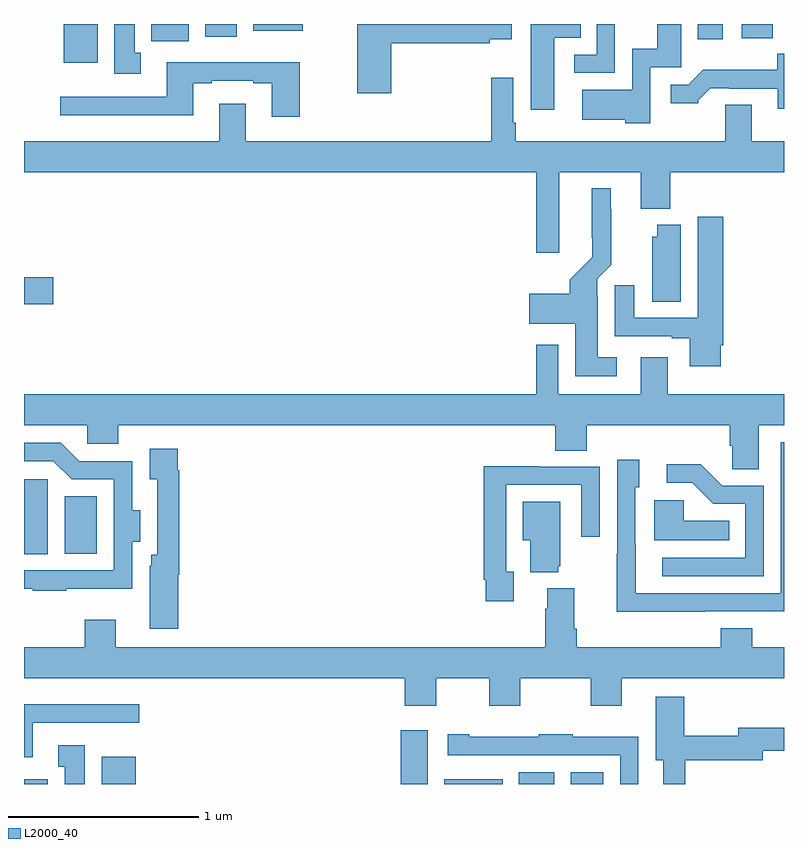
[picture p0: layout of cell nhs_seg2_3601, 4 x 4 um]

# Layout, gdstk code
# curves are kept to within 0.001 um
import gdstk
lib = gdstk.Library(unit=1e-6, precision=1e-09)
def R(c, l, rs):  # rectangles x0, y0, x1, y1
    for r in rs: c.add(gdstk.rectangle(r[:2], r[2:], *l))
def P(c, l, *ps):  # polygons
    for p in ps: c.add(gdstk.Polygon(p, *l))
L2000_40 = (2000, 40)

nhs_seg2_3601 = lib.new_cell('nhs_seg2_3601')
R(nhs_seg2_3601, L2000_40, [(301,593.8,301.126,593.824), (301.409,593.8,301.588,593.944), (302.984,593.8,303.124,594.082), (303.212,593.8,303.52,593.824), (303.605,593.8,303.79,593.863), (303.878,593.8,304.048,593.863), (301,595.009,301.126,595.405), (301.214,595.013,301.384,595.315), (301,596.326,301.153,596.468), (301.208,597.596,301.387,597.8), (301.671,597.708,301.867,597.8), (304.547,597.72,304.678,597.8), (304.778,597.725,304.94,597.8), (301.955,597.734,302.119,597.8), (302.207,597.764,302.466,597.8)])
P(nhs_seg2_3601, L2000_40, [(303.79,597.728),(303.929,597.728),(303.929,597.8),(303.668,597.8),(303.668,597.348),(303.79,597.348)],
  [(302.933,597.7),(303.452,597.7),(303.452,597.719),(303.568,597.719),(303.568,597.8),(302.755,597.8),(302.755,597.435),(302.933,597.435)],
  [(304.296,597.573),(304.459,597.573),(304.459,597.8),(304.334,597.8),(304.334,597.67),(304.2,597.67),(304.2,597.454),(303.939,597.454),(303.939,597.296),(304.164,597.296),(304.164,597.278),(304.296,597.278)],
  [(304.11,597.8),(304.014,597.8),(304.014,597.639),(303.897,597.639),(303.897,597.543),(304.11,597.543)],
  [(301.615,597.649),(301.582,597.649),(301.582,597.8),(301.475,597.8),(301.475,597.537),(301.615,597.537)],
  [(305,597.643),(304.965,597.643),(304.965,597.559),(304.576,597.559),(304.497,597.48),(304.404,597.48),(304.404,597.383),(304.548,597.383),(304.548,597.398),(304.612,597.462),(304.711,597.462),(304.711,597.459),(304.967,597.459),(304.967,597.354),(305,597.354)],
  [(302.451,597.598),(301.751,597.598),(301.751,597.417),(301.191,597.417),(301.191,597.32),(301.891,597.32),(301.891,597.489),(301.987,597.489),(301.987,597.501),(302.207,597.501),(302.207,597.489),(302.303,597.489),(302.303,597.312),(302.451,597.312)],
  [(303.817,597.02),(304.247,597.02),(304.247,596.828),(304.4,596.828),(304.4,597.02),(305,597.02),(305,597.184),(304.831,597.184),(304.831,597.374),(304.691,597.374),(304.691,597.184),(303.589,597.184),(303.589,597.28),(303.576,597.28),(303.576,597.517),(303.46,597.517),(303.46,597.184),(302.167,597.184),(302.167,597.379),(302.027,597.379),(302.027,597.184),(301,597.184),(301,597.02),(303.695,597.02),(303.695,596.595),(303.817,596.595)],
  [(304.12,596.047),(304.021,596.047),(304.021,596.366),(304.017,596.366),(304.017,596.46),(304.091,596.534),(304.091,596.825),(304.087,596.825),(304.087,596.935),(303.989,596.935),(303.99,596.572),(303.872,596.454),(303.872,596.38),(303.66,596.38),(303.66,596.222),(303.902,596.222),(303.902,595.946),(304.12,595.946)],
  [(304.666,596.11),(304.679,596.11),(304.679,596.785),(304.547,596.785),(304.547,596.253),(304.213,596.253),(304.213,596.425),(304.109,596.425),(304.109,596.157),(304.409,596.157),(304.409,596.145),(304.505,596.145),(304.505,595.998),(304.666,595.998)],
  [(304.456,596.743),(304.334,596.743),(304.334,596.679),(304.307,596.679),(304.307,596.338),(304.456,596.338)],
  [(304.867,595.688),(305,595.688),(305,595.852),(304.387,595.852),(304.387,596.047),(304.247,596.047),(304.247,595.852),(303.813,595.852),(303.813,596.113),(303.697,596.113),(303.697,595.852),(301,595.852),(301,595.688),(301.332,595.688),(301.332,595.59),(301.496,595.59),(301.496,595.688),(303.797,595.688),(303.797,595.555),(303.962,595.555),(303.962,595.688),(304.715,595.688),(304.715,595.579),(304.728,595.579),(304.728,595.456),(304.867,595.456)],
  [(304.583,594.708),(305,594.708),(305,595.599),(304.983,595.599),(304.983,594.804),(304.219,594.804),(304.219,595.058),(304.218,595.058),(304.218,595.362),(304.237,595.362),(304.237,595.507),(304.122,595.507),(304.122,595.013),(304.12,595.013),(304.12,594.707),(304.583,594.707)],
  [(301.223,594.827),(301.569,594.827),(301.569,595.076),(301.612,595.076),(301.612,595.24),(301.57,595.24),(301.57,595.5),(301.29,595.5),(301.194,595.596),(301,595.596),(301,595.5),(301.155,595.5),(301.251,595.404),(301.473,595.404),(301.473,594.924),(301,594.924),(301,594.827),(301.045,594.827),(301.045,594.816),(301.223,594.816)],
  [(301.811,594.902),(301.817,594.902),(301.817,595.451),(301.81,595.451),(301.81,595.564),(301.661,595.564),(301.661,595.403),(301.701,595.403),(301.701,595.006),(301.67,595.006),(301.67,594.948),(301.661,594.948),(301.661,594.618),(301.811,594.618)],
  [(304.893,595.371),(304.674,595.371),(304.561,595.484),(304.383,595.484),(304.383,595.386),(304.517,595.386),(304.628,595.275),(304.797,595.275),(304.797,594.99),(304.359,594.99),(304.359,594.894),(304.893,594.894)],
  [(303.577,594.918),(303.537,594.918),(303.537,595.374),(303.933,595.374),(303.933,595.101),(304.029,595.101),(304.029,595.47),(303.713,595.47),(303.713,595.472),(303.421,595.472),(303.421,594.874),(303.429,594.874),(303.429,594.762),(303.577,594.762)],
  [(304.712,595.186),(304.473,595.186),(304.473,595.294),(304.316,595.294),(304.316,595.082),(304.712,595.082)],
  [(303.812,594.945),(303.823,594.945),(303.823,595.285),(303.626,595.285),(303.626,595.082),(303.665,595.082),(303.665,594.914),(303.812,594.914)],
  [(303.169,594.356),(303.449,594.356),(303.449,594.213),(303.613,594.213),(303.613,594.356),(303.983,594.356),(303.983,594.213),(304.147,594.213),(304.147,594.356),(305,594.356),(305,594.52),(304.832,594.52),(304.832,594.619),(304.667,594.619),(304.667,594.52),(303.908,594.52),(303.908,594.616),(303.895,594.616),(303.895,594.829),(303.755,594.829),(303.755,594.722),(303.743,594.722),(303.743,594.52),(301.483,594.52),(301.483,594.664),(301.319,594.664),(301.319,594.52),(301,594.52),(301,594.356),(303.005,594.356),(303.005,594.213),(303.169,594.213)],
  [(304.481,593.926),(304.888,593.926),(304.888,593.975),(305,593.975),(305,594.097),(304.76,594.097),(304.76,594.055),(304.475,594.055),(304.475,594.259),(304.325,594.259),(304.325,593.924),(304.365,593.924),(304.365,593.8),(304.481,593.8)],
  [(301.045,594.123),(301.606,594.123),(301.606,594.22),(301,594.22),(301,593.942),(301.045,593.942)],
  [(304.233,594.049),(303.887,594.049),(303.887,594.061),(303.709,594.061),(303.709,594.049),(303.343,594.049),(303.343,594.061),(303.231,594.061),(303.231,593.952),(304.137,593.952),(304.137,593.8),(304.233,593.8)],
  [(301.321,594.004),(301.181,594.004),(301.181,593.891),(301.214,593.891),(301.214,593.8),(301.321,593.8)])

lib.write_gds('nhs_seg2_3601.gds')
